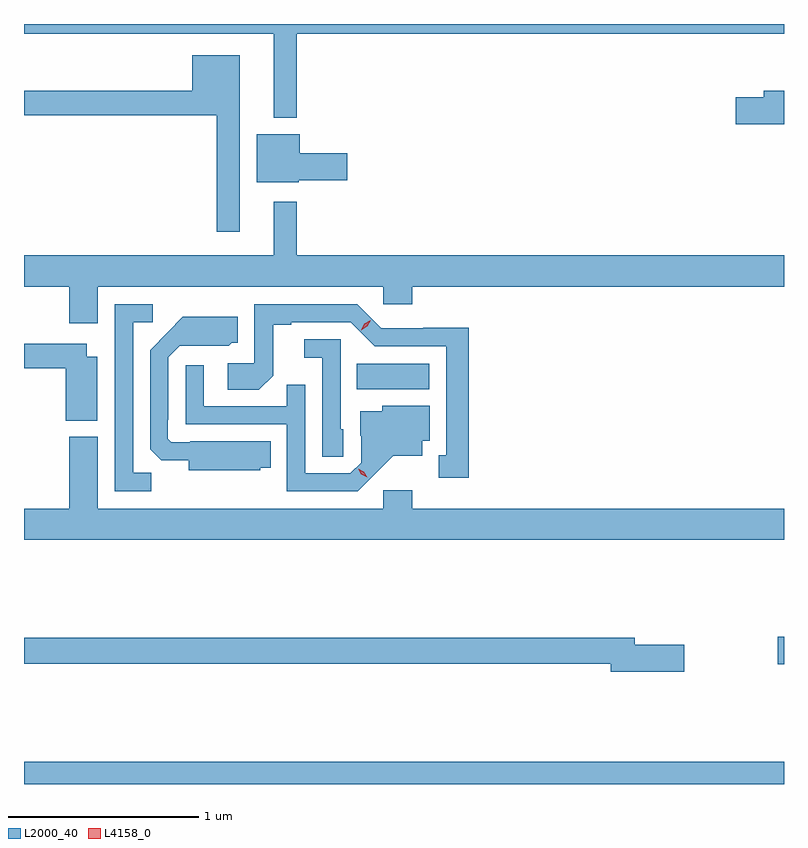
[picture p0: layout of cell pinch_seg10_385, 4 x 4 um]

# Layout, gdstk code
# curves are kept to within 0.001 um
import gdstk
lib = gdstk.Library(unit=1e-6, precision=1e-09)
def R(c, l, rs):  # rectangles x0, y0, x1, y1
    for r in rs: c.add(gdstk.rectangle(r[:2], r[2:], *l))
def P(c, l, *ps):  # polygons
    for p in ps: c.add(gdstk.Polygon(p, *l))
L2000_40 = (2000, 40)
L4158_0 = (4158, 0)

pinch_seg10_385 = lib.new_cell('pinch_seg10_385')
R(pinch_seg10_385, L2000_40, [(574.289,1256.406,578.289,1256.524), (578.256,1257.035,578.289,1257.182), (576.04,1258.484,576.421,1258.618)])
P(pinch_seg10_385, L2000_40, [(575.725,1260.356),(578.289,1260.356),(578.289,1260.406),(574.289,1260.406),(574.289,1260.356),(575.603,1260.356),(575.603,1259.912),(575.725,1259.912)],
  [(575.425,1260.241),(575.174,1260.241),(575.174,1260.055),(574.289,1260.055),(574.289,1259.926),(575.304,1259.926),(575.304,1259.313),(575.425,1259.313)],
  [(578.289,1260.055),(578.183,1260.055),(578.183,1260.021),(578.034,1260.021),(578.034,1259.879),(578.289,1259.879)],
  [(575.736,1259.584),(575.989,1259.584),(575.989,1259.726),(575.74,1259.726),(575.74,1259.827),(575.513,1259.827),(575.513,1259.573),(575.736,1259.573)],
  [(574.678,1259.024),(576.18,1259.024),(576.18,1258.931),(576.332,1258.931),(576.332,1259.024),(578.289,1259.024),(578.289,1259.188),(575.725,1259.188),(575.725,1259.47),(575.603,1259.47),(575.603,1259.188),(574.289,1259.188),(574.289,1259.024),(574.526,1259.024),(574.526,1258.83),(574.678,1258.83)],
  [(576.631,1258.808),(576.39,1258.808),(576.39,1258.806),(576.168,1258.806),(576.042,1258.932),(575.502,1258.932),(575.502,1258.62),(575.361,1258.62),(575.361,1258.48),(575.525,1258.48),(575.601,1258.556),(575.601,1258.824),(575.695,1258.824),(575.695,1258.836),(576.009,1258.836),(576.135,1258.71),(576.512,1258.71),(576.512,1258.137),(576.473,1258.137),(576.473,1258.017),(576.631,1258.017)],
  [(574.959,1258.043),(574.863,1258.043),(574.863,1258.836),(574.966,1258.836),(574.966,1258.932),(574.767,1258.932),(574.767,1257.948),(574.959,1257.948)],
  [(575.532,1258.07),(575.588,1258.07),(575.588,1258.21),(575.164,1258.21),(575.164,1258.206),(575.064,1258.206),(575.046,1258.224),(575.046,1258.324),(575.049,1258.324),(575.049,1258.653),(575.109,1258.713),(575.366,1258.712),(575.382,1258.728),(575.413,1258.728),(575.413,1258.864),(575.125,1258.864),(574.953,1258.69),(574.953,1258.168),(575.012,1258.109),(575.156,1258.109),(575.156,1258.058),(575.532,1258.058)],
  [(575.97,1258.272),(575.955,1258.272),(575.955,1258.746),(575.763,1258.746),(575.763,1258.649),(575.859,1258.649),(575.859,1258.129),(575.97,1258.129)],
  [(574.675,1258.654),(574.618,1258.654),(574.618,1258.723),(574.289,1258.723),(574.289,1258.594),(574.508,1258.594),(574.508,1258.319),(574.675,1258.319)],
  [(576.103,1258.005),(576.233,1258.133),(576.385,1258.133),(576.385,1258.212),(576.424,1258.212),(576.424,1258.396),(576.174,1258.396),(576.174,1258.369),(576.059,1258.369),(576.059,1258.24),(576.063,1258.24),(576.063,1258.098),(576.006,1258.041),(575.769,1258.041),(575.769,1258.508),(575.671,1258.508),(575.671,1258.395),(575.235,1258.395),(575.235,1258.609),(575.139,1258.609),(575.139,1258.299),(575.673,1258.299),(575.673,1257.948),(576.046,1257.948)],
  [(578.289,1257.856),(576.332,1257.856),(576.332,1257.952),(576.18,1257.952),(576.18,1257.856),(574.678,1257.856),(574.678,1258.234),(574.526,1258.234),(574.526,1257.856),(574.289,1257.856),(574.289,1257.692),(578.289,1257.692)],
  [(577.765,1257.14),(577.504,1257.14),(577.504,1257.176),(574.289,1257.176),(574.289,1257.04),(577.376,1257.04),(577.376,1256.998),(577.765,1256.998)])
P(pinch_seg10_385, L4158_0, [(576.063,1258.795),(576.063,1258.795),(576.081,1258.828),(576.113,1258.846),(576.113,1258.846),(576.113,1258.846),(576.096,1258.814),(576.064,1258.795)],
  [(576.095,1258.02),(576.064,1258.035),(576.047,1258.065),(576.047,1258.065),(576.047,1258.065),(576.078,1258.05),(576.095,1258.021),(576.095,1258.02)])

lib.write_gds('pinch_seg10_385.gds')
